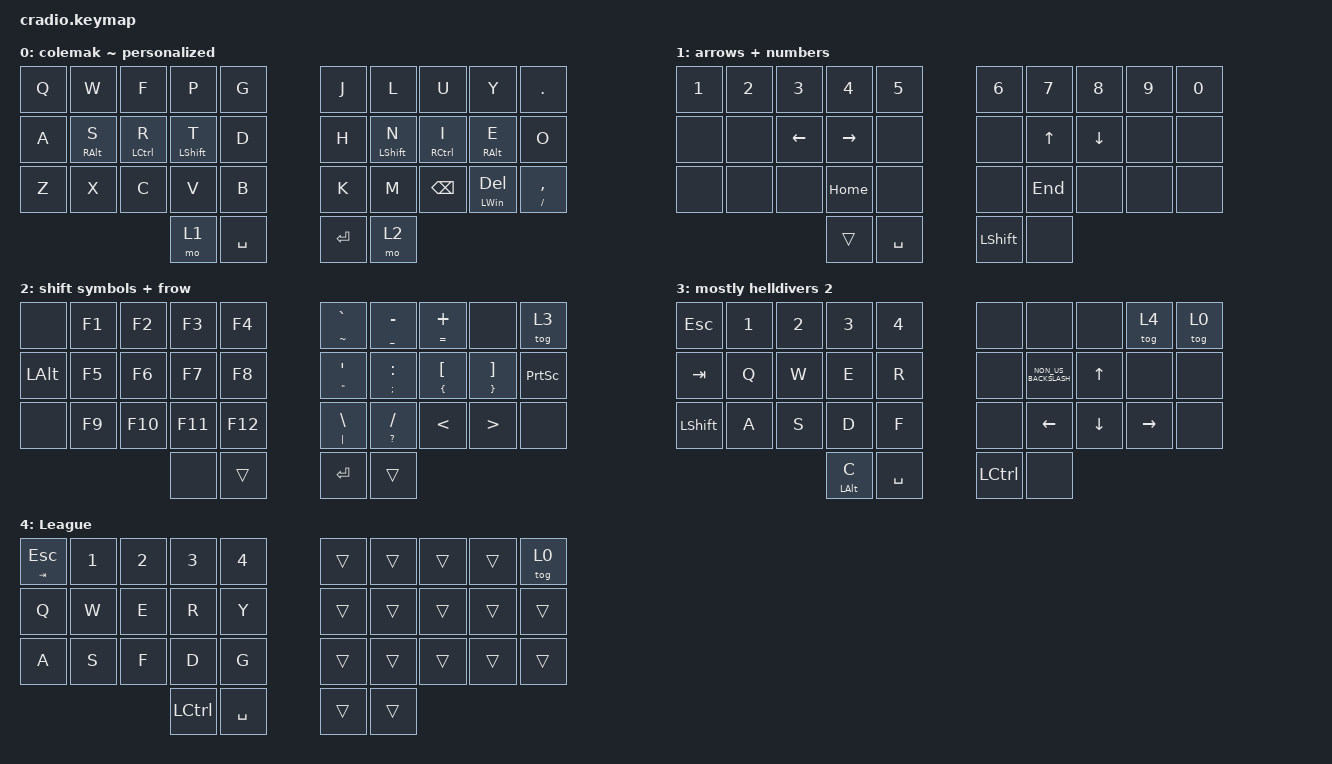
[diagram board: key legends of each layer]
// Copyright (c) 2022 The ZMK Contributors
// SPDX-License-Identifier: MIT

#define ZMK_POINTING_DEFAULT_MOVE_VAL 2500  // 600
#define ZMK_POINTING_DEFAULT_SCRL_VAL 20    // 10

#include <behaviors.dtsi>
#include <dt-bindings/zmk/keys.h>

#define MAC 0
#define WIN 1
#define RIG 2
#define LEF 3
#define TRI 4
#define MOUSE 5

// https: //zmk.dev/docs/development/hardware-integration/soft-off-setup?advanced-methods=wakeup&kscan-type=dkscan

/ {
    keys {
        compatible = "gpio-keys";

        soft_off_gpio_key: soft_off_gpio_key { gpios = <&gpio1 6 (GPIO_ACTIVE_LOW | GPIO_PULL_UP)>; };
    };

    wakeup_scan: wakeup_scan {
        compatible = "zmk,kscan-gpio-direct";
        input-keys = <&soft_off_gpio_key>;
        wakeup-source;
    };

    side_band_behavior_triggers: side_band_behavior_triggers {
        compatible = "zmk,kscan-sideband-behaviors";
        kscan = <&wakeup_scan>;
        auto-enable;
        wakeup-source;
    };

    soft_off_wakers {
        compatible = "zmk,soft-off-wakeup-sources";
        wakeup-sources = <&wakeup_scan>;
    };
};

/ {
    chosen { zmk,charmap = &charmap_us; };

    behaviors {
        ht: hold_tap {
            label = "hold_tap";
            compatible = "zmk,behavior-hold-tap";
            #binding-cells = <2>;
            flavor = "tap-preferred";
            tapping-term-ms = <200>;
            quick-tap-ms = <150>;
            global-quick-tap;
            bindings = <&kp>, <&kp>;
        };

        tap_dance: tap_dance {
            compatible = "zmk,behavior-tap-dance";
            label = "TAP_DANCE";
            #binding-cells = <0>;
            tapping-term-ms = <150>;
            bindings = <&kp ESC>, <&tog 1>;
        };

        mmv {
            acceleration-exponent = <1>;      // 1
            time-to-max-speed-ms = <300>;    // 40
            delay-ms = <0>;                   // 0
        };

        msc {
            acceleration-exponent = <0>;      // 0
            time-to-max-speed-ms = <40>;      // 500
            delay-ms = <0>;                   // 10
        };
    };

    conditional_layers {
        compatible = "zmk,conditional-layers";

        tri_layer {
            if-layers = <2 3>;
            then-layer = <3>;
        };
    };

    macros {
        Alt_R: Alt_R {
            compatible = "zmk,behavior-macro";
            #binding-cells = <0>;
            bindings = <&kp LEFT_ALT &kp R>;
            label = "ALT_R";
        };
    };

    combos {
        compatible = "zmk,combos";

        app_search {
            bindings = <&Alt_R>;
            key-positions = <31 32>;
            layers = <0>;
        };

        C-item {
            bindings = <&kp C>;
            key-positions = <22 21>;
            layers = <4>;
        };

        T-item {
            bindings = <&kp T>;
            key-positions = <23 22>;
            layers = <4>;
        };

        B-recall {
            bindings = <&kp B>;
            key-positions = <1 2>;
            layers = <4>;
        };

        esc {
            bindings = <&kp ESCAPE>;
            key-positions = <0 1>;
            layers = <0>;
        };

        Ctrl_c {
            bindings = <&kp LC(C)>;
            key-positions = <21 22>;
            layers = <0>;
        };

        Ctrl_v {
            bindings = <&kp LC(V)>;
            key-positions = <22 23>;
            layers = <0>;
        };

        Tab {
            bindings = <&kp TAB>;
            key-positions = <4 5>;
            layers = <0>;
        };

        Pg_up {
            bindings = <&kp PG_UP>;
            key-positions = <16 17>;
            layers = <1>;
        };

        Pg_down {
            bindings = <&kp PAGE_DOWN>;
            key-positions = <26 27>;
            layers = <1>;
        };
    };

    keymap {
        compatible = "zmk,keymap";

        Base {
            display-name = "colemak ~ personalized";
            bindings = <
&kp Q  &kp W            &kp F        &kp P             &kp G        &kp J      &kp L             &kp U          &kp Y                &kp DOT
&kp A  &ht RIGHT_ALT S  &ht LCTRL R  &ht LEFT_SHIFT T  &kp D        &kp H      &ht LEFT_SHIFT N  &ht RCTRL I    &ht RALT E           &kp O
&kp Z  &kp X            &kp C        &kp V             &kp B        &kp K      &kp M             &kp BACKSPACE  &ht LEFT_WIN DELETE  &ht SLASH COMMA
                                     &mo 1             &kp SPACE    &kp ENTER  &mo 2
            >;
        };

        Arrows_etc {
            display-name = "arrows + numbers";
            bindings = <
&kp NUMBER_1  &kp NUMBER_2  &kp NUMBER_3    &kp NUMBER_4     &kp N5       &kp NUMBER_6  &kp N7   &kp N8    &kp N9  &kp N0
&none         &none         &kp LEFT_ARROW  &kp RIGHT_ARROW  &none        &none         &kp UP   &kp DOWN  &none   &none
&none         &none         &none           &kp HOME         &none        &none         &kp END  &none     &none   &none
                                            &trans           &kp SPACE    &kp LSHIFT    &none
            >;
        };

        Symbols_frow {
            display-name = "shift symbols + frow";
            bindings = <
&none         &kp F1  &kp F2   &kp F3   &kp F4     &ht TILDE GRAVE        &ht UNDER MINUS     &ht EQUAL PLUS               &none                          &tog 3
&kp LEFT_ALT  &kp F5  &kp F6   &kp F7   &kp F8     &ht DOUBLE_QUOTES SQT  &ht SEMI COLON      &ht LEFT_BRACE LEFT_BRACKET  &ht RIGHT_BRACE RIGHT_BRACKET  &kp PRINTSCREEN
&none         &kp F9  &kp F10  &kp F11  &kp F12    &ht PIPE BACKSLASH     &ht QUESTION SLASH  &kp LESS_THAN                &kp GREATER_THAN               &none
                               &none    &trans     &kp ENTER              &trans
            >;
        };

        General_gaming {
            bindings = <
&kp ESC    &kp N1  &kp N2  &kp N3      &kp N4       &none      &none                 &none     &tog 4     &tog 0
&kp TAB    &kp Q   &kp W   &kp E       &kp R        &none      &kp NON_US_BACKSLASH  &kp UP    &none      &none
&kp LSHFT  &kp A   &kp S   &kp D       &kp F        &none      &kp LEFT              &kp DOWN  &kp RIGHT  &none
                           &ht LALT C  &kp SPACE    &kp LCTRL  &none
            >;

            label = "mostly helldivers 2";
        };

        League {
            bindings = <
&ht TAB ESCAPE  &kp N1  &kp N2  &kp N3     &kp N4       &trans  &trans  &trans  &trans  &tog 0
&kp Q           &kp W   &kp E   &kp R      &kp Y        &trans  &trans  &trans  &trans  &trans
&kp A           &kp S   &kp F   &kp D      &kp G        &trans  &trans  &trans  &trans  &trans
                                &kp LCTRL  &kp SPACE    &trans  &trans
            >;
        };
    };
};
